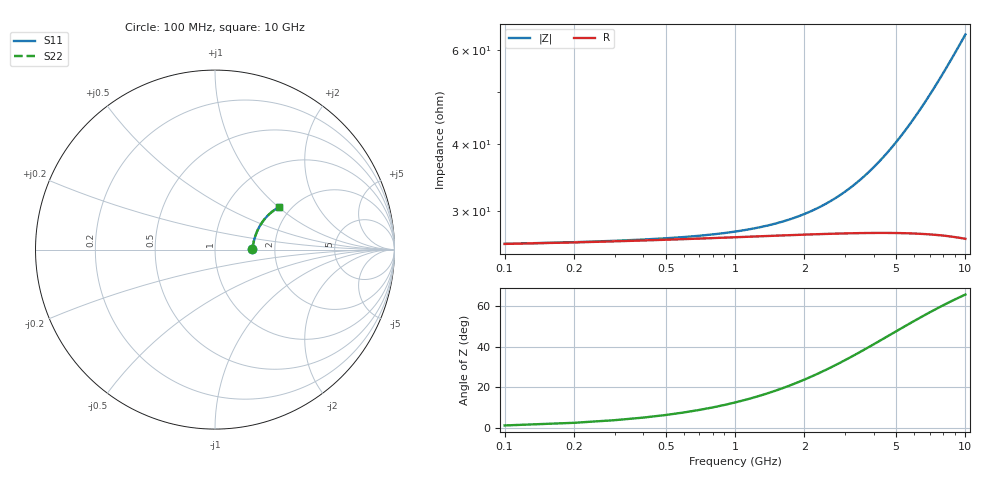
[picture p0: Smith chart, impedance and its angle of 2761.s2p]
# Hz S RI R 50.00
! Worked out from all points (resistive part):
!   100 points, 100 MHz to 10 GHz, reference 50 ohm
!   read as one part in series: R = 26 ohm at 100 MHz
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1e8  0.2064 0.00313  0.7936 -0.00434  0.7936 -0.00434  0.2064 0.00313
2e8  0.2075 0.00624  0.7925 -0.00866  0.7925 -0.00866  0.2075 0.00624
4e8  0.2091 0.0124  0.7909 -0.0173  0.7909 -0.0173  0.2091 0.0124
8e8  0.2117 0.0247  0.7883 -0.0344  0.7883 -0.0344  0.2117 0.0247
1.1e9  0.2135 0.0338  0.7863 -0.0471  0.7863 -0.0471  0.2135 0.0338
1.4e9  0.2155 0.0428  0.7843 -0.0598  0.7843 -0.0598  0.2155 0.0428
1.8e9  0.2185 0.0547  0.7812 -0.0765  0.7812 -0.0765  0.2185 0.0547
2.1e9  0.2209 0.0636  0.7787 -0.089  0.7787 -0.089  0.2209 0.0636
2.5e9  0.2245 0.0752  0.7749 -0.1055  0.7749 -0.1055  0.2245 0.0752
2.9e9  0.2286 0.0866  0.7707 -0.1217  0.7707 -0.1217  0.2286 0.0866
3.4e9  0.2342 0.1006  0.7649 -0.1418  0.7649 -0.1418  0.2342 0.1006
3.8e9  0.2391 0.1115  0.7597 -0.1575  0.7597 -0.1575  0.2391 0.1115
4.2e9  0.2445 0.1221  0.754 -0.173  0.754 -0.173  0.2445 0.1221
4.6e9  0.2503 0.1325  0.748 -0.1882  0.748 -0.1882  0.2503 0.1325
5.1e9  0.258 0.1449  0.7399 -0.2068  0.7399 -0.2068  0.258 0.1449
5.9e9  0.2715 0.1639  0.7256 -0.2355  0.7256 -0.2355  0.2715 0.1639
6.7e9  0.2863 0.1814  0.71 -0.2628  0.71 -0.2628  0.2863 0.1814
7.2e9  0.2961 0.1915  0.6996 -0.2791  0.6996 -0.2791  0.2961 0.1915
7.6e9  0.3043 0.1992  0.691 -0.2917  0.691 -0.2917  0.3043 0.1992
8.4e9  0.3213 0.2134  0.6729 -0.3157  0.6729 -0.3157  0.3213 0.2134
9.2e9  0.339 0.226  0.654 -0.3382  0.654 -0.3382  0.339 0.226
1e10  0.3573 0.237  0.6344 -0.3591  0.6344 -0.3591  0.3573 0.237
